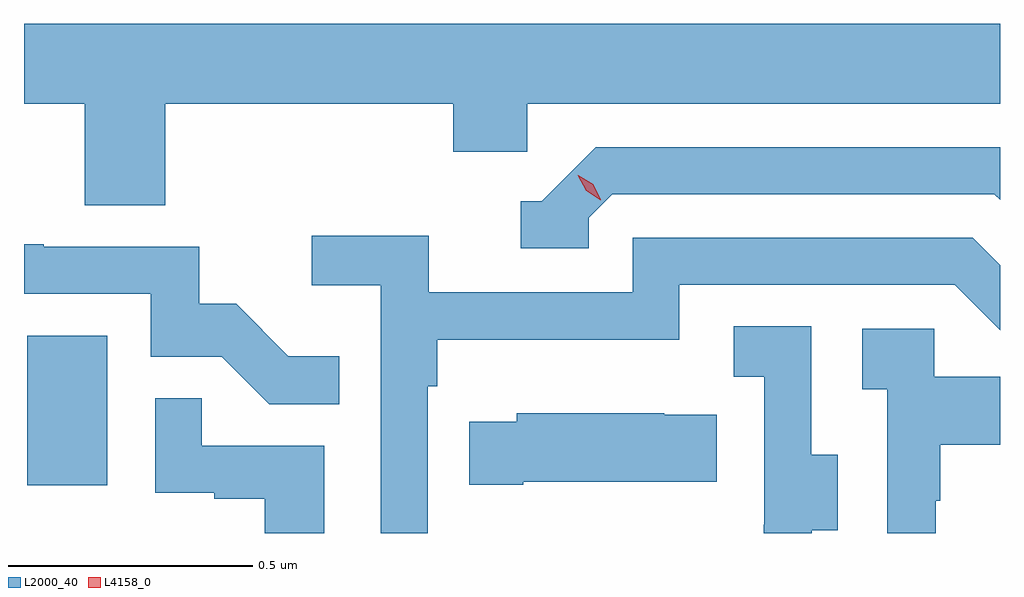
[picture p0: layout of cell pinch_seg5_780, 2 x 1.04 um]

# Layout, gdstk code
import gdstk
lib = gdstk.Library(unit=1e-6, precision=1e-09)
def R(c, l, rs):  # rectangles x0, y0, x1, y1
    for r in rs: c.add(gdstk.rectangle(r[:2], r[2:], *l))
def P(c, l, *ps):  # polygons
    for p in ps: c.add(gdstk.Polygon(p, *l))
L2000_40 = (2000, 40)
L4158_0 = (4158, 0)

pinch_seg5_780 = lib.new_cell('pinch_seg5_780')
R(pinch_seg5_780, L2000_40, [(831.098,902.598,831.262,902.905)])
P(pinch_seg5_780, L2000_40, [(831.38,903.38),(831.971,903.38),(831.971,903.282),(832.122,903.282),(832.122,903.38),(833.091,903.38),(833.091,903.544),(831.091,903.544),(831.091,903.38),(831.215,903.38),(831.215,903.172),(831.38,903.172)],
  [(832.248,903.147),(832.296,903.195),(833.079,903.195),(833.091,903.183),(833.091,903.291),(832.263,903.291),(832.152,903.18),(832.109,903.18),(832.109,903.084),(832.248,903.084)],
  [(831.918,902.801),(831.938,902.801),(831.938,902.897),(832.434,902.897),(832.434,903.009),(832.998,903.009),(833.091,902.916),(833.091,903.049),(833.035,903.105),(832.338,903.105),(832.338,902.994),(831.92,902.994),(831.92,903.11),(831.681,903.11),(831.681,903.008),(831.822,903.008),(831.822,902.5),(831.918,902.5)],
  [(831.737,902.863),(831.633,902.863),(831.526,902.97),(831.45,902.97),(831.45,903.087),(831.131,903.087),(831.131,903.092),(831.091,903.092),(831.091,902.991),(831.351,902.991),(831.351,902.862),(831.496,902.862),(831.594,902.764),(831.737,902.764)],
  [(832.705,902.506),(832.759,902.506),(832.759,902.661),(832.704,902.661),(832.704,902.924),(832.545,902.924),(832.545,902.821),(832.608,902.821),(832.608,902.517),(832.607,902.517),(832.607,902.5),(832.705,902.5)],
  [(832.959,902.567),(832.969,902.567),(832.969,902.681),(833.091,902.681),(833.091,902.821),(832.956,902.821),(832.956,902.919),(832.809,902.919),(832.809,902.795),(832.86,902.795),(832.86,902.5),(832.959,902.5)],
  [(831.706,902.679),(831.455,902.679),(831.455,902.777),(831.36,902.777),(831.36,902.583),(831.481,902.583),(831.481,902.571),(831.584,902.571),(831.584,902.5),(831.706,902.5)],
  [(832.114,902.606),(832.511,902.606),(832.511,902.743),(832.403,902.743),(832.403,902.746),(832.101,902.746),(832.101,902.728),(832.003,902.728),(832.003,902.599),(832.114,902.599)])
P(pinch_seg5_780, L4158_0, [(832.273,903.182),(832.243,903.202),(832.226,903.234),(832.226,903.234),(832.227,903.234),(832.257,903.215),(832.273,903.183),(832.273,903.182)])

lib.write_gds('pinch_seg5_780.gds')
